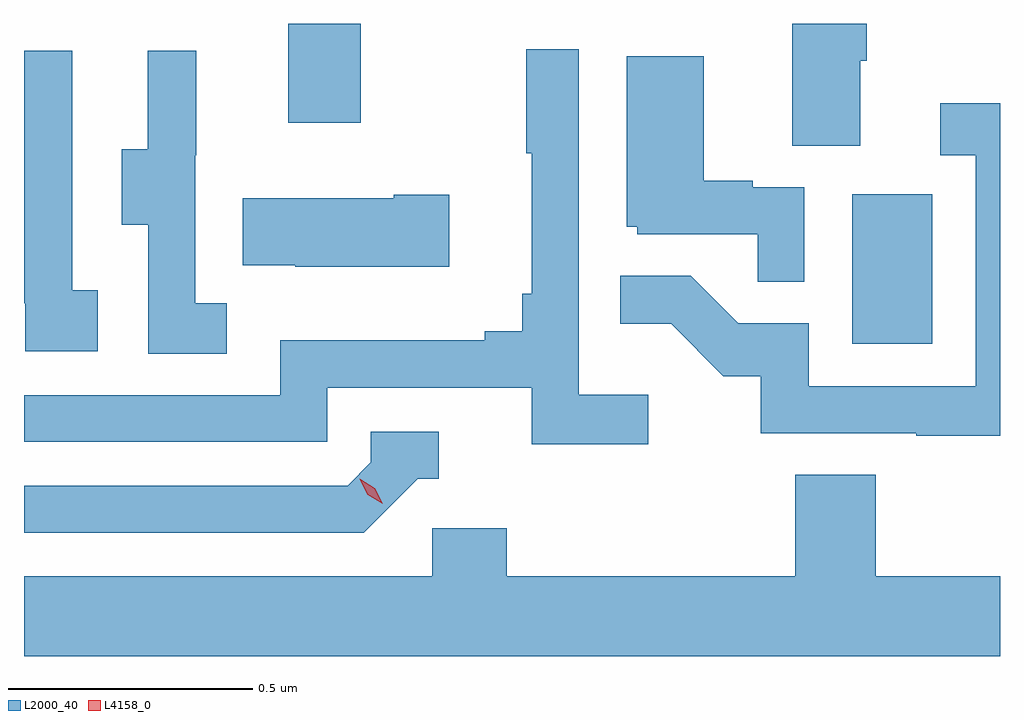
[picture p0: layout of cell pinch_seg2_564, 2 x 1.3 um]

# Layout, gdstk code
import gdstk
lib = gdstk.Library(unit=1e-6, precision=1e-09)
def R(c, l, rs):  # rectangles x0, y0, x1, y1
    for r in rs: c.add(gdstk.rectangle(r[:2], r[2:], *l))
def P(c, l, *ps):  # polygons
    for p in ps: c.add(gdstk.Polygon(p, *l))
L2000_40 = (2000, 40)
L4158_0 = (4158, 0)

pinch_seg2_564 = lib.new_cell('pinch_seg2_564')
R(pinch_seg2_564, L2000_40, [(1119.962,608.316,1120.126,608.623), (1118.807,608.769,1118.955,608.972)])
P(pinch_seg2_564, L2000_40, [(1119.979,608.896),(1119.992,608.896),(1119.992,608.972),(1119.839,608.972),(1119.839,608.722),(1119.979,608.722)],
  [(1119.544,608.212),(1119.402,608.212),(1119.402,608.92),(1119.294,608.92),(1119.294,608.707),(1119.305,608.707),(1119.305,608.419),(1119.286,608.419),(1119.286,608.342),(1119.209,608.342),(1119.209,608.323),(1118.79,608.323),(1118.79,608.211),(1118.265,608.211),(1118.265,608.115),(1118.886,608.115),(1118.886,608.226),(1119.305,608.226),(1119.305,608.11),(1119.544,608.11)],
  [(1118.416,608.426),(1118.364,608.426),(1118.364,608.917),(1118.265,608.917),(1118.265,608.772),(1118.266,608.772),(1118.266,608.654),(1118.265,608.654),(1118.265,608.399),(1118.268,608.399),(1118.268,608.301),(1118.416,608.301)],
  [(1118.68,608.399),(1118.616,608.399),(1118.616,608.703),(1118.618,608.703),(1118.618,608.917),(1118.519,608.917),(1118.519,608.715),(1118.465,608.715),(1118.465,608.56),(1118.52,608.56),(1118.52,608.296),(1118.68,608.296)],
  [(1119.864,608.637),(1119.758,608.637),(1119.758,608.65),(1119.658,608.65),(1119.658,608.905),(1119.5,608.905),(1119.5,608.556),(1119.522,608.556),(1119.522,608.541),(1119.769,608.541),(1119.769,608.443),(1119.864,608.443)],
  [(1120.265,608.809),(1120.143,608.809),(1120.143,608.703),(1120.215,608.703),(1120.215,608.229),(1119.873,608.229),(1119.873,608.358),(1119.729,608.358),(1119.631,608.456),(1119.487,608.456),(1119.487,608.357),(1119.591,608.357),(1119.698,608.25),(1119.775,608.25),(1119.775,608.133),(1120.093,608.133),(1120.093,608.128),(1120.265,608.128)],
  [(1119.136,608.622),(1119.023,608.622),(1119.023,608.614),(1118.713,608.614),(1118.713,608.477),(1118.821,608.477),(1118.821,608.474),(1119.136,608.474)],
  [(1119.072,608.04),(1119.115,608.04),(1119.115,608.136),(1118.976,608.136),(1118.976,608.073),(1118.928,608.025),(1118.265,608.025),(1118.265,607.929),(1118.961,607.929)],
  [(1120.265,607.84),(1120.01,607.84),(1120.01,608.048),(1119.845,608.048),(1119.845,607.84),(1119.254,607.84),(1119.254,607.938),(1119.102,607.938),(1119.102,607.84),(1118.265,607.84),(1118.265,607.676),(1120.265,607.676)])
P(pinch_seg2_564, L4158_0, [(1119,607.988),(1118.969,608.007),(1118.953,608.039),(1118.953,608.04),(1118.953,608.04),(1118.984,608.02),(1119,607.988),(1119,607.988)])

lib.write_gds('pinch_seg2_564.gds')
